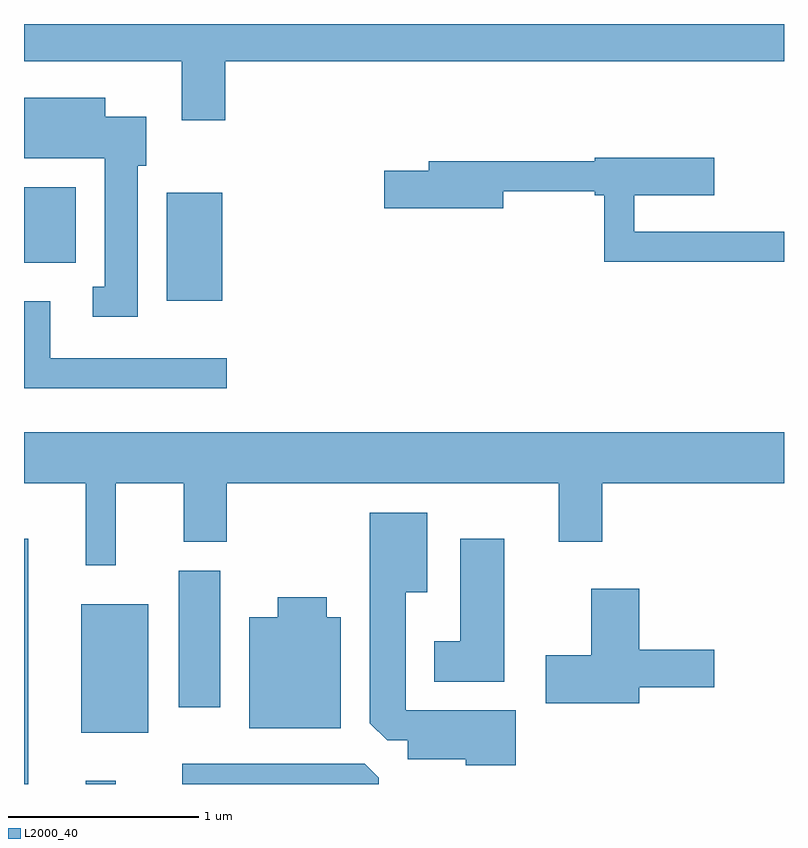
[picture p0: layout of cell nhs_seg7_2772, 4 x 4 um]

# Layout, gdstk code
import gdstk
lib = gdstk.Library(unit=1e-6, precision=1e-09)
def R(c, l, rs):  # rectangles x0, y0, x1, y1
    for r in rs: c.add(gdstk.rectangle(r[:2], r[2:], *l))
def P(c, l, *ps):  # polygons
    for p in ps: c.add(gdstk.Polygon(p, *l))
L2000_40 = (2000, 40)

nhs_seg7_2772 = lib.new_cell('nhs_seg7_2772')
R(nhs_seg7_2772, L2000_40, [(269.611,1748.252,269.634,1749.544), (269.936,1748.252,270.094,1748.268), (269.911,1748.521,270.264,1749.199), (270.426,1748.656,270.644,1749.374), (270.361,1750.796,270.654,1751.364), (269.611,1750.996,269.884,1751.394)])
P(nhs_seg7_2772, L2000_40, [(270.669,1752.056),(273.611,1752.056),(273.611,1752.252),(269.611,1752.252),(269.611,1752.056),(270.441,1752.056),(270.441,1751.746),(270.669,1751.746)],
  [(270.209,1751.506),(270.254,1751.506),(270.254,1751.764),(270.039,1751.764),(270.039,1751.864),(269.611,1751.864),(269.611,1751.546),(270.036,1751.546),(270.036,1750.869),(269.973,1750.869),(269.973,1750.711),(270.209,1750.711)],
  [(273.611,1751.159),(272.824,1751.159),(272.824,1751.351),(273.244,1751.351),(273.244,1751.549),(272.616,1751.549),(272.616,1751.529),(271.741,1751.529),(271.741,1751.479),(271.506,1751.479),(271.506,1751.281),(272.134,1751.281),(272.134,1751.371),(272.616,1751.371),(272.616,1751.351),(272.666,1751.351),(272.666,1751.001),(273.611,1751.001)],
  [(270.678,1750.494),(269.749,1750.494),(269.749,1750.794),(269.611,1750.794),(269.611,1750.336),(270.678,1750.336)],
  [(270.094,1749.836),(270.451,1749.836),(270.451,1749.526),(270.679,1749.526),(270.679,1749.836),(272.426,1749.836),(272.426,1749.526),(272.654,1749.526),(272.654,1749.836),(273.611,1749.836),(273.611,1750.104),(269.611,1750.104),(269.611,1749.836),(269.936,1749.836),(269.936,1749.403),(270.094,1749.403)],
  [(272.199,1748.639),(271.619,1748.639),(271.619,1749.261),(271.734,1749.261),(271.734,1749.679),(271.431,1749.679),(271.431,1748.572),(271.522,1748.481),(271.631,1748.481),(271.631,1748.381),(271.936,1748.381),(271.936,1748.351),(272.199,1748.351)],
  [(272.139,1749.544),(271.906,1749.544),(271.906,1749.004),(271.771,1749.004),(271.771,1748.791),(272.139,1748.791)],
  [(272.849,1748.761),(273.244,1748.761),(273.244,1748.959),(272.849,1748.959),(272.849,1749.279),(272.596,1749.279),(272.596,1748.929),(272.356,1748.929),(272.356,1748.676),(272.849,1748.676)],
  [(271.279,1749.129),(271.204,1749.129),(271.204,1749.234),(270.946,1749.234),(270.946,1749.129),(270.796,1749.129),(270.796,1748.546),(271.279,1748.546)],
  [(271.479,1748.284),(271.404,1748.359),(270.443,1748.359),(270.443,1748.252),(271.479,1748.252)])

lib.write_gds('nhs_seg7_2772.gds')
